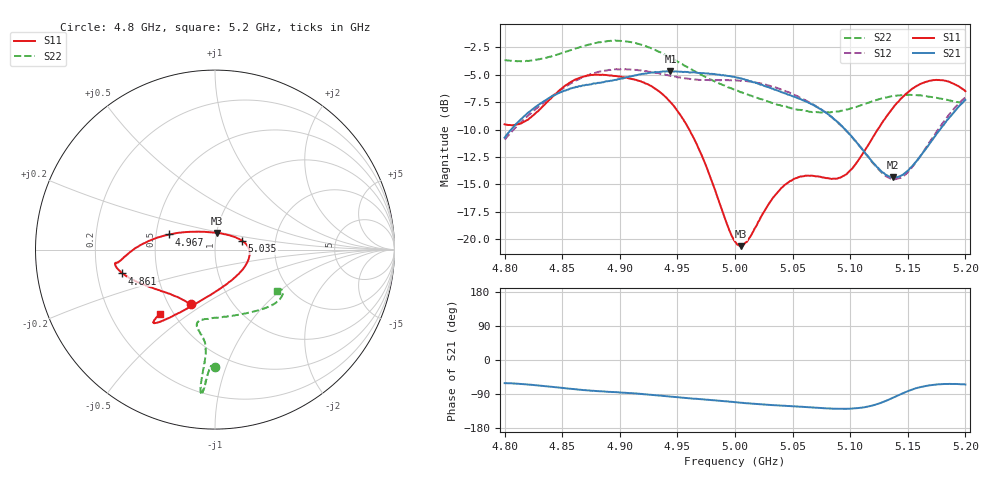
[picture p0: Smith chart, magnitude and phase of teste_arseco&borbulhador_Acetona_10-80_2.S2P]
! Network Analyzer HP8722D
! Hewlett-Packard
! Data name: Linha & Wilkinson
! Saver's name: Rodrigo Anjos
! Comments: Teste da utilização de aquisição
! continua pelo VNA HP8722D
! Time and date: 17/4/2025 14:22
!  Frequency  S11  S21  S12  S22
# HZ  S  MA R 50
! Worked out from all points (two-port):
!   401 points, 4.8 GHz to 5.2 GHz, reference 50 ohm
!   highest |S21| = -4.69 dB at 4.944 GHz (marker M1); lowest = -14.4 dB at 5.137 GHz (marker M2)
!   |S21| within 3 dB of the highest: 4.83 GHz to 5.066 GHz (236.1 MHz wide, 4.77 % of centre); 5.19626 GHz to end of sweep
!   lowest |S11| = -20.6 dB at 5.005 GHz (marker M3), VSWR 1.21, Z = 50.4 + j9.38 ohm
!   |S11| at or under -10 dB: 4.96 GHz to 5.124 GHz (163.6 MHz wide, 3.24 % of centre)
!   |S22| runs from -8.5 to -1.9 dB; largest |S21 - S12| = 0.87
!   S11 on the Smith chart (normalised r, x): 4.8 GHz: 0.64, -0.44; 4.861 GHz: 0.31, -0.11; 4.967 GHz: 0.58, +0.11; 5.035 GHz: 1.35, +0.14; 5.2 GHz: 0.42, -0.39
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4.8e9  0.3342 -113.9  0.2905 -61.1  0.2849 -175.3  0.6552 -90.1
4.819e9  0.3485 -133.7  0.3719 -64.5  0.3608 -173.9  0.6504 -91.7
4.861e9  0.5334 -165.6  0.4915 -77.0  0.5249 -177.0  0.7375 -94.1
4.867e9  0.5483 -168.0  0.5003 -79.0  0.5448 -178.1  0.7542 -94.2
4.898e9  0.5528 -172.4  0.5352 -85.0  0.5941 175.5  0.8025 -95.4
4.934e9  0.4726 -178.3  0.5783 -93.9  0.5709 171.7  0.7148 -95.9
4.944e9  0.4223 177.1  0.5831 -96.6  0.5557 171.7  0.6727 -95.6
4.967e9  0.2697 161.8  0.5742 -102.6  0.5338 173.6  0.5742 -95.2
5e9  0.09772 100.5  0.5489 -111.4  0.5313 175.9  0.4798 -99.2
5.005e9  0.09312 82.4  0.5407 -112.7  0.5273 175.8  0.4677 -100.3
5.012e9  0.1007 58.8  0.5269 -114.5  0.5235 175.6  0.4548 -101.8
5.035e9  0.1594 18.1  0.4801 -119.4  0.4925 174.5  0.4146 -103.2
5.05e9  0.1866 3.0  0.4485 -122.1  0.4589 173.9  0.3949 -99.5
5.067e9  0.195 -15.2  0.4121 -125.2  0.4146 173.5  0.3798 -90.7
5.086e9  0.1889 -45.2  0.3527 -128.4  0.3523 173.6  0.3805 -76.2
5.097e9  0.1982 -67.7  0.3105 -128.8  0.3114 174.5  0.3901 -67.2
5.134e9  0.3779 -117.0  0.1934 -103.8  0.1901 -156.8  0.4462 -43.0
5.137e9  0.3958 -118.8  0.1914 -99.8  0.1884 -152.0  0.4497 -41.7
5.15e9  0.4669 -124.6  0.2054 -82.3  0.2021 -132.0  0.455 -36.8
5.17e9  0.5287 -129.2  0.2776 -66.4  0.283 -112.6  0.4457 -32.1
5.184e9  0.5251 -130.5  0.3488 -63.2  0.3593 -107.6  0.4322 -31.2
5.2e9  0.4731 -130.8  0.4316 -64.8  0.4442 -106.7  0.415 -33.5
